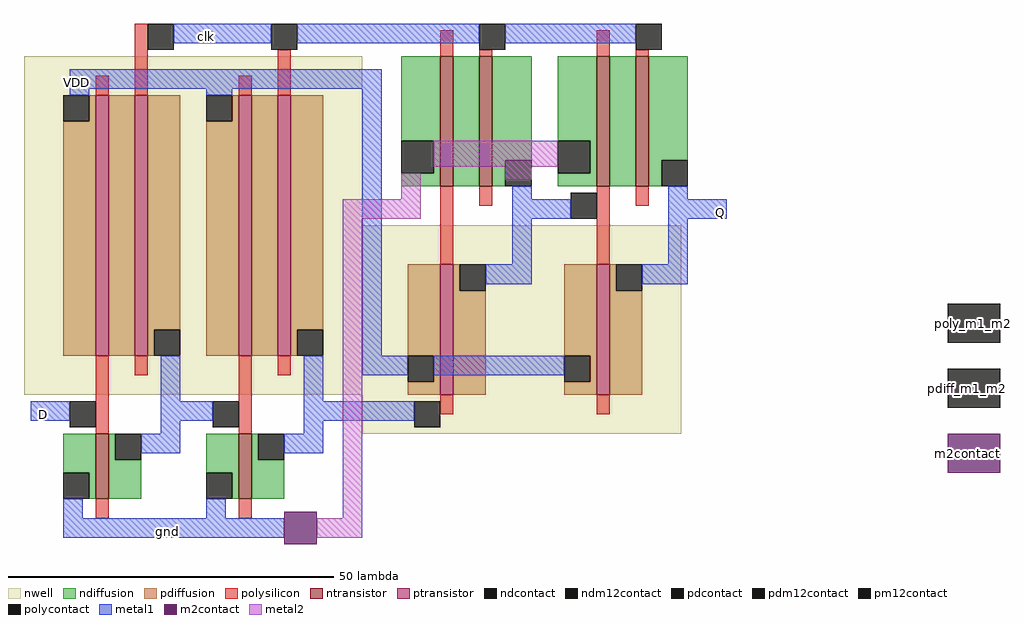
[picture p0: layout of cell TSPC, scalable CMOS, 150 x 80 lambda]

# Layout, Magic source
magic
tech scmos
<< nwell >>
rect -82 43 -30 69
rect -82 17 19 43
rect -30 11 19 17
<< ntransistor >>
rect -18 49 -16 69
rect -12 49 -10 69
rect 6 49 8 69
rect 12 49 14 69
rect -71 1 -69 11
rect -49 1 -47 11
<< ptransistor >>
rect -71 23 -69 63
rect -65 23 -63 63
rect -49 23 -47 63
rect -43 23 -41 63
rect -18 17 -16 37
rect 6 17 8 37
<< ndiffusion >>
rect -24 56 -18 69
rect -19 51 -18 56
rect -24 49 -18 51
rect -16 49 -12 69
rect -10 53 -4 69
rect -10 49 -8 53
rect 0 56 6 69
rect 5 51 6 56
rect 0 49 6 51
rect 8 49 12 69
rect 14 53 20 69
rect 14 49 16 53
rect -76 5 -71 11
rect -72 1 -71 5
rect -69 7 -68 11
rect -69 1 -64 7
rect -54 5 -49 11
rect -50 1 -49 5
rect -47 7 -46 11
rect -47 1 -42 7
<< pdiffusion >>
rect -72 59 -71 63
rect -76 23 -71 59
rect -69 23 -65 63
rect -63 27 -58 63
rect -63 23 -62 27
rect -50 59 -49 63
rect -54 23 -49 59
rect -47 23 -43 63
rect -41 27 -36 63
rect -41 23 -40 27
rect -23 23 -18 37
rect -19 19 -18 23
rect -23 17 -18 19
rect -16 33 -15 37
rect -16 17 -11 33
rect 1 23 6 37
rect 5 19 6 23
rect 1 17 6 19
rect 8 33 9 37
rect 8 17 13 33
<< ndcontact >>
rect -8 49 -4 53
rect 16 49 20 53
rect -76 1 -72 5
rect -68 7 -64 11
rect -54 1 -50 5
rect -46 7 -42 11
<< pdcontact >>
rect -76 59 -72 63
rect -62 23 -58 27
rect -54 59 -50 63
rect -40 23 -36 27
rect -23 19 -19 23
rect -15 33 -11 37
rect 1 19 5 23
rect 9 33 13 37
<< polysilicon >>
rect -71 63 -69 66
rect -65 63 -63 74
rect -49 63 -47 66
rect -43 63 -41 70
rect -18 69 -16 73
rect -12 69 -10 70
rect 6 69 8 73
rect 12 69 14 70
rect -18 37 -16 49
rect -12 46 -10 49
rect 6 37 8 49
rect 12 46 14 49
rect -71 11 -69 23
rect -65 20 -63 23
rect -49 11 -47 23
rect -43 20 -41 23
rect -18 14 -16 17
rect 6 14 8 17
rect -71 -2 -69 1
rect -49 -2 -47 1
<< polycontact >>
rect -63 70 -59 74
rect -44 70 -40 74
rect -12 70 -8 74
rect 12 70 16 74
rect 2 44 6 48
rect -75 12 -71 16
rect -53 12 -49 16
rect -22 12 -18 16
<< metal1 >>
rect -59 71 -44 74
rect -40 71 -12 74
rect -8 71 12 74
rect -75 64 -27 67
rect -75 63 -72 64
rect -54 63 -50 64
rect -61 16 -58 23
rect -39 16 -36 23
rect -30 23 -27 64
rect -7 47 -4 49
rect -7 44 2 47
rect 17 47 20 49
rect 17 44 26 47
rect -7 37 -4 44
rect 17 37 20 44
rect -11 34 -4 37
rect 13 34 20 37
rect -30 20 -23 23
rect -19 20 1 23
rect -81 13 -75 16
rect -61 13 -53 16
rect -61 11 -58 13
rect -39 13 -22 16
rect -39 11 -36 13
rect -64 8 -58 11
rect -42 8 -36 11
rect -76 -2 -73 1
rect -54 -2 -51 1
rect -76 -5 -42 -2
<< m2contact >>
rect 60 5 68 11
rect -42 -6 -37 -1
<< pm12contact >>
rect 60 25 68 31
<< pdm12contact >>
rect 60 15 68 21
<< ndm12contact >>
rect -24 51 -19 56
rect 0 51 5 56
<< metal2 >>
rect -19 52 0 56
rect -24 47 -21 51
rect -8 50 -4 52
rect -33 44 -21 47
rect -33 -2 -30 44
rect -37 -5 -30 -2
<< labels >>
rlabel metal1 -74 65 -74 65 1 VDD
rlabel metal1 -54 72 -54 72 5 clk
rlabel pm12contact 64 28 64 28 7 poly_m1_m2
rlabel pdm12contact 63 18 63 18 7 pdiff_m1_m2
rlabel m2contact 63 8 63 8 7 m2contact
rlabel metal1 -79 14 -79 14 3 D
rlabel metal1 25 45 25 45 1 Q
rlabel metal1 -60 -4 -60 -4 1 gnd
<< end >>
